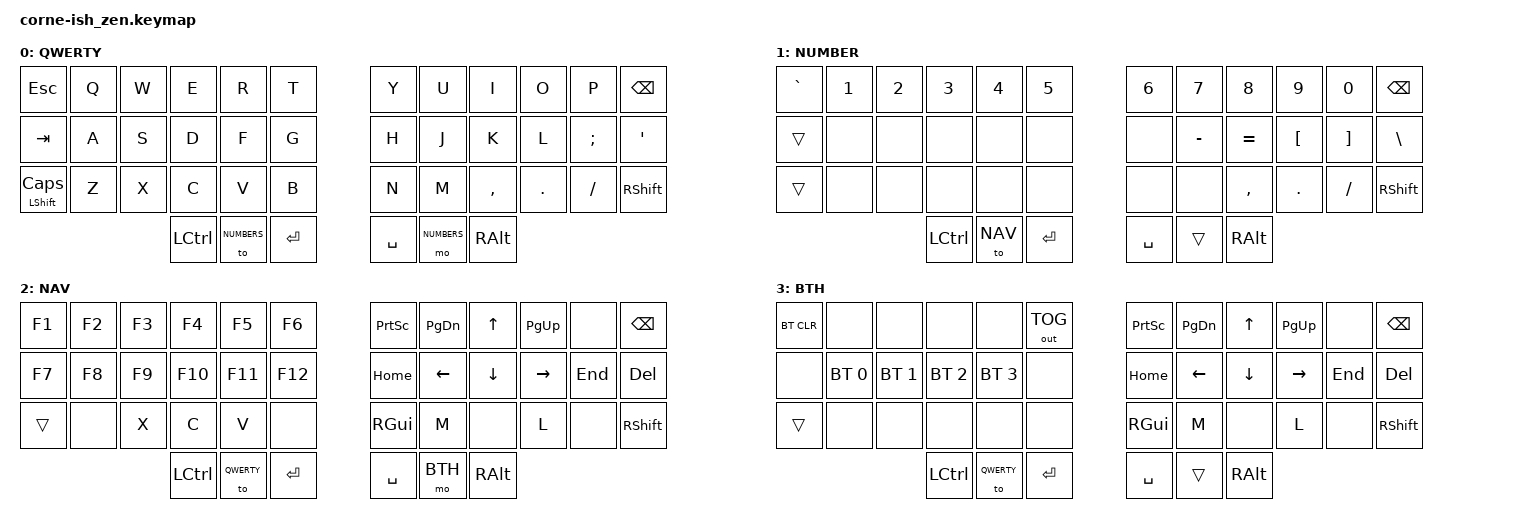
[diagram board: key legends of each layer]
/*
*
* Copyright (c) 2021 lowprokb.ca
* SPDX-License-Identifier: MIT
*
*/

#include <behaviors.dtsi>
#include <dt-bindings/zmk/keys.h>
#include <dt-bindings/zmk/bt.h>
#include <dt-bindings/zmk/outputs.h>

#define QWERTY 0
#define NUMBERS 1
#define NAV 2
#define BTH 3

/ {
        keymap {
                compatible = "zmk,keymap";

                default_layer {
                        label = "QWERTY";
                        bindings = <
   &kp ESC        &kp Q &kp W &kp E &kp R &kp T    &kp Y &kp U &kp I     &kp O   &kp P    &kp BSPC
   &kp TAB        &kp A &kp S &kp D &kp F &kp G    &kp H &kp J &kp K     &kp L   &kp SEMI &kp SQT
   &mt LSHFT CAPS &kp Z &kp X &kp C &kp V &kp B    &kp N &kp M &kp COMMA &kp DOT &kp FSLH &kp RSHFT
                &kp LCTRL &to NUMBERS &kp ENTER    &kp SPACE &mo NUMBERS &kp RALT
                        >;
                };

                number_layer {
                        label = "NUMBER";
                        bindings = <
   &kp GRAVE &kp N1 &kp N2 &kp N3 &kp N4 &kp N5   &kp N6 &kp N7    &kp N8    &kp N9   &kp N0   &kp BSPC
   &trans    &none  &none  &none  &none  &none    &none  &kp MINUS &kp EQUAL &kp LBKT &kp RBKT &kp BSLH
   &trans    &none  &none  &none  &none  &none    &none  &none     &kp COMMA &kp DOT  &kp FSLH &kp RSHFT 
                   &kp LCTRL &to NAV &kp ENTER    &kp SPACE &trans &kp RALT
                        >;
                };

                nav_layer {
                        label = "NAV";
                        bindings = <
   &kp F1 &kp F2 &kp F3 &kp F4  &kp F5  &kp F6    &kp PSCRN &kp PG_DN &kp UP   &kp PG_UP &none   &kp BSPC
   &kp F7 &kp F8 &kp F9 &kp F10 &kp F11 &kp F12   &kp HOME  &kp LEFT  &kp DOWN &kp RIGHT &kp END &kp DEL
   &trans &none  &kp X  &kp C   &kp V   &none     &kp RGUI  &kp M     &none    &kp L     &none   &kp RSHFT
                 &kp LCTRL &to QWERTY &kp ENTER   &kp SPACE &mo BTH &kp RALT
                        >;
                };
				
                bth_layer {
                        label = "BTH";
                        bindings = <
   &bt BT_CLR &none        &none        &none        &none        &out OUT_TOG   &kp PSCRN &kp PG_DN &kp UP   &kp PG_UP &none   &kp BSPC
   &none      &bt BT_SEL 0 &bt BT_SEL 1 &bt BT_SEL 2 &bt BT_SEL 3 &none          &kp HOME  &kp LEFT  &kp DOWN &kp RIGHT &kp END &kp DEL
   &trans     &none        &none        &none        &none        &none          &kp RGUI  &kp M     &none    &kp L     &none   &kp RSHFT
                                         &kp LCTRL &to QWERTY &kp ENTER          &kp SPACE &trans &kp RALT
                        >;
                };
        };
};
